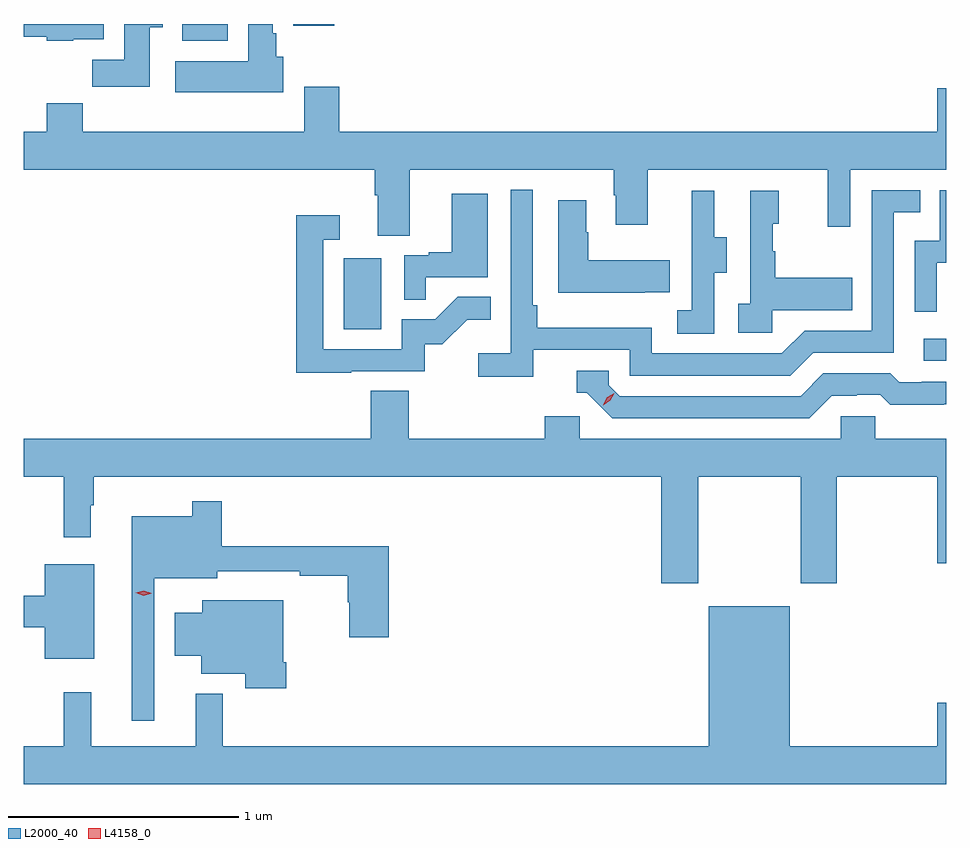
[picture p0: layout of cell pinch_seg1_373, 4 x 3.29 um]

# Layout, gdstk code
import gdstk
lib = gdstk.Library(unit=1e-6, precision=1e-09)
def R(c, l, rs):  # rectangles x0, y0, x1, y1
    for r in rs: c.add(gdstk.rectangle(r[:2], r[2:], *l))
def P(c, l, *ps):  # polygons
    for p in ps: c.add(gdstk.Polygon(p, *l))
L2000_40 = (2000, 40)
L4158_0 = (4158, 0)

pinch_seg1_373 = lib.new_cell('pinch_seg1_373')
R(pinch_seg1_373, L2000_40, [(968.145,536.25,968.243,536.346), (965.63,536.388,965.794,536.695), (964.931,537.638,965.128,537.711), (965.411,537.704,965.59,537.711)])
P(pinch_seg1_373, L2000_40, [(964.789,537.697),(964.846,537.697),(964.846,537.711),(964.679,537.711),(964.679,537.556),(964.54,537.556),(964.54,537.438),(964.789,537.438)],
  [(965.368,537.57),(965.338,537.57),(965.338,537.67),(965.323,537.67),(965.323,537.711),(965.216,537.711),(965.216,537.55),(964.899,537.55),(964.899,537.416),(965.368,537.416)],
  [(964.458,537.644),(964.591,537.644),(964.591,537.711),(964.243,537.711),(964.243,537.656),(964.344,537.656),(964.344,537.638),(964.458,537.638)],
  [(964.343,537.368),(964.343,537.244),(964.243,537.244),(964.243,537.08),(965.765,537.08),(965.765,536.968),(965.777,536.968),(965.777,536.794),(965.917,536.794),(965.917,537.08),(966.802,537.08),(966.802,536.969),(966.809,536.969),(966.809,536.841),(966.949,536.841),(966.949,537.08),(967.73,537.08),(967.73,536.832),(967.827,536.832),(967.827,537.08),(968.243,537.08),(968.243,537.433),(968.204,537.433),(968.204,537.244),(965.612,537.244),(965.612,537.439),(965.459,537.439),(965.459,537.244),(964.499,537.244),(964.499,537.368)],
  [(966.452,536.298),(966.87,536.298),(966.87,536.187),(967.567,536.187),(967.666,536.286),(968.016,536.286),(968.016,536.895),(968.129,536.895),(968.129,536.991),(967.92,536.991),(967.92,536.382),(967.629,536.382),(967.53,536.283),(966.966,536.283),(966.966,536.395),(966.47,536.395),(966.47,536.491),(966.45,536.491),(966.45,536.992),(966.354,536.992),(966.354,536.284),(966.213,536.284),(966.213,536.182),(966.452,536.182)],
  [(968.202,536.675),(968.243,536.675),(968.243,536.991),(968.214,536.991),(968.214,536.772),(968.106,536.772),(968.106,536.463),(968.202,536.463)],
  [(967.488,536.471),(967.835,536.471),(967.835,536.611),(967.501,536.611),(967.501,536.726),(967.491,536.726),(967.491,536.844),(967.516,536.844),(967.516,536.989),(967.392,536.989),(967.392,536.498),(967.341,536.498),(967.341,536.373),(967.488,536.373)],
  [(967.236,536.632),(967.291,536.632),(967.291,536.787),(967.237,536.787),(967.237,536.989),(967.139,536.989),(967.139,536.775),(967.14,536.775),(967.14,536.471),(967.077,536.471),(967.077,536.368),(967.236,536.368)],
  [(965.987,536.613),(966.256,536.613),(966.256,536.974),(966.098,536.974),(966.098,536.722),(965.999,536.722),(965.999,536.709),(965.892,536.709),(965.892,536.515),(965.987,536.515)],
  [(966.935,536.549),(967.043,536.549),(967.043,536.686),(966.69,536.686),(966.69,536.808),(966.682,536.808),(966.682,536.947),(966.56,536.947),(966.56,536.546),(966.935,536.546)],
  [(965.663,536.205),(965.982,536.205),(965.982,536.322),(966.058,536.322),(966.165,536.429),(966.269,536.429),(966.269,536.528),(966.125,536.528),(966.027,536.43),(965.883,536.43),(965.883,536.301),(965.541,536.301),(965.541,536.775),(965.614,536.775),(965.614,536.881),(965.425,536.881),(965.425,536.2),(965.663,536.2)],
  [(967.747,536.1),(967.854,536.1),(967.854,536.103),(967.957,536.103),(967.999,536.061),(968.232,536.061),(968.232,536.063),(968.243,536.063),(968.243,536.16),(968.137,536.16),(968.137,536.157),(968.038,536.157),(967.999,536.196),(967.71,536.196),(967.611,536.097),(966.828,536.097),(966.78,536.145),(966.78,536.208),(966.641,536.208),(966.641,536.112),(966.684,536.112),(966.795,536.001),(967.648,536.001)],
  [(966.654,536.01),(966.503,536.01),(966.503,535.912),(965.912,535.912),(965.912,536.12),(965.747,536.12),(965.747,535.912),(964.243,535.912),(964.243,535.748),(964.417,535.748),(964.417,535.485),(964.534,535.485),(964.534,535.625),(964.546,535.625),(964.546,535.748),(967.007,535.748),(967.007,535.287),(967.167,535.287),(967.167,535.748),(967.612,535.748),(967.612,535.287),(967.767,535.287),(967.767,535.748),(968.204,535.748),(968.204,535.374),(968.243,535.374),(968.243,535.912),(967.935,535.912),(967.935,536.01),(967.785,536.01),(967.785,535.912),(966.654,535.912)],
  [(964.809,535.307),(965.083,535.307),(965.083,535.338),(965.44,535.338),(965.44,535.318),(965.647,535.318),(965.647,535.203),(965.654,535.203),(965.654,535.053),(965.825,535.053),(965.825,535.447),(965.102,535.447),(965.102,535.642),(964.974,535.642),(964.974,535.576),(964.712,535.576),(964.712,534.69),(964.809,534.69)],
  [(964.549,535.369),(964.334,535.369),(964.334,535.232),(964.243,535.232),(964.243,535.096),(964.334,535.096),(964.334,534.959),(964.549,534.959)],
  [(965.381,534.943),(965.368,534.943),(965.368,535.213),(965.018,535.213),(965.018,535.159),(964.898,535.159),(964.898,534.971),(965.012,534.971),(965.012,534.893),(965.203,534.893),(965.203,534.831),(965.381,534.831)],
  [(968.243,534.769),(968.204,534.769),(968.204,534.58),(967.564,534.58),(967.564,535.186),(967.214,535.186),(967.214,534.58),(965.105,534.58),(965.105,534.808),(964.988,534.808),(964.988,534.58),(964.535,534.58),(964.535,534.814),(964.417,534.814),(964.417,534.58),(964.243,534.58),(964.243,534.416),(968.243,534.416)])
P(pinch_seg1_373, L4158_0, [(964.763,535.233),(964.728,535.245),(964.728,535.245),(964.728,535.245),(964.764,535.253),(964.799,535.242),(964.799,535.242),(964.799,535.242)],
  [(966.756,536.059),(966.756,536.06),(966.773,536.092),(966.804,536.111),(966.804,536.111),(966.804,536.111),(966.787,536.079),(966.756,536.059)])

lib.write_gds('pinch_seg1_373.gds')
